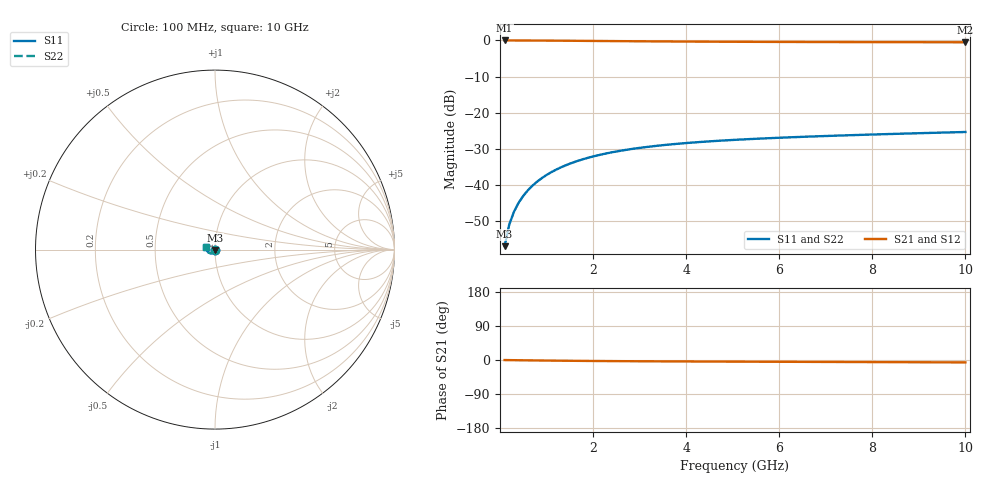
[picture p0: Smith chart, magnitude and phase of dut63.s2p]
! Touchstone file exported from HFSS 2024.1.0
!  File:  C:/UserFiles/LocalFiles/RDL_TSV_Batchsim/temp_TSV1_63_1779373092.aedt
!  Generated:  10:27:03 PM May 21, 2026
!  Design:  TSV1
!  Project:  temp_TSV1_63_1779373092
!  Setup:  Setup1
!  Solution:  Sweep
! Variables:
!  dtsv = 10.2um
!  hbump = 3um
!  htsv = 98.75um
!  lrdl = 252.1521522um
!  p = 40
!  p1 = 59.09um
!  t = 500um
!  trdl = 3um
!  wrdl = 24.89489489um
# GHz S MA R 50.000000
! Terminal data exported
! Port[1] = TSV22_T1
! Port[2] = TSV22_T2
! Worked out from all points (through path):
!   100 points, 100 MHz to 10 GHz, reference 50 ohm
!   highest |S21| = 0.00 dB at 100 MHz (marker M1); lowest = -0.5 dB at 10 GHz (marker M2)
!   lowest |S11| = -56.8 dB at 100 MHz (marker M3), VSWR 1.00, Z = 50 - j0.143 ohm
!   |S11| at or under -10 dB: start of sweep to end of sweep
!   |S22| runs from -56.8 to -25.3 dB; largest |S21 - S12| = 2.1e-15
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0.1  0.001437 -85.8  0.9998 -0.2  0.9998 -0.2  0.001437 -85.8
! Gamma 0 0 0 0
! Port Impedance 50 0 50 0
0.2  0.002861 -90.8  0.9996 -0.3  0.9996 -0.3  0.002861 -90.8
0.3  0.004285 -93.9  0.9993 -0.5  0.9993 -0.5  0.004285 -93.9
0.4  0.005701 -96.4  0.999 -0.6  0.999 -0.6  0.005701 -96.4
0.5  0.007107 -98.8  0.9985 -0.8  0.9985 -0.8  0.007107 -98.8
0.6  0.008496 -101.0  0.9979 -0.9  0.9979 -0.9  0.008496 -101.0
0.7  0.009866 -103.2  0.9973 -1.1  0.9973 -1.1  0.009866 -103.2
0.8  0.01121 -105.3  0.9966 -1.2  0.9966 -1.2  0.01121 -105.3
0.9  0.01253 -107.4  0.9958 -1.3  0.9958 -1.3  0.01253 -107.4
1.1  0.01509 -111.4  0.9941 -1.6  0.9941 -1.6  0.01509 -111.4
1.4  0.01868 -117.1  0.9911 -2.0  0.9911 -2.0  0.01868 -117.1
1.6  0.02091 -120.8  0.989 -2.2  0.989 -2.2  0.02091 -120.8
1.8  0.02299 -124.3  0.9867 -2.4  0.9867 -2.4  0.02299 -124.3
2.1  0.02586 -129.2  0.9834 -2.7  0.9834 -2.7  0.02586 -129.2
2.5  0.02922 -135.3  0.979 -3.0  0.979 -3.0  0.02922 -135.3
2.9  0.03212 -140.9  0.9748 -3.3  0.9748 -3.3  0.03212 -140.9
3.4  0.03518 -147.3  0.9701 -3.5  0.9701 -3.5  0.03518 -147.3
4.2  0.0391 -156.1  0.9638 -3.9  0.9638 -3.9  0.0391 -156.1
5.1  0.0425 -164.5  0.9583 -4.3  0.9583 -4.3  0.0425 -164.5
6.7  0.04709 -176.7  0.9515 -5.0  0.9515 -5.0  0.04709 -176.7
8.4  0.051 172.9  0.9469 -5.7  0.9469 -5.7  0.051 172.9
10  0.05435 164.7  0.944 -6.3  0.944 -6.3  0.05435 164.7
